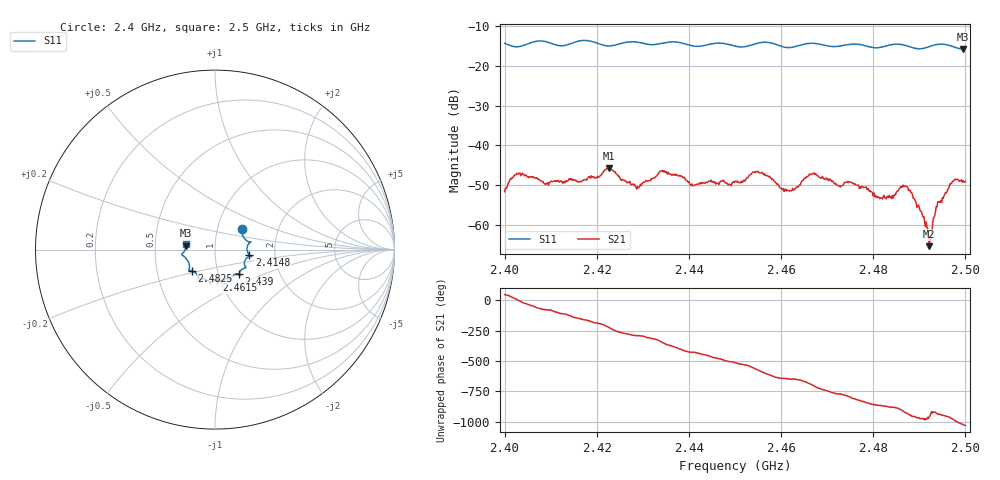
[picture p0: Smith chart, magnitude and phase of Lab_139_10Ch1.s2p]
# Hz S RI R 50
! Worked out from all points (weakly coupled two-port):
!   601 points, 2.4 GHz to 2.5 GHz, reference 50 ohm
!   highest |S21| = -45.72 dB at 2.4227 GHz (marker M1); lowest = -65.3 dB at 2.4922 GHz (marker M2)
!   lowest |S11| = -15.7 dB at 2.4995 GHz (marker M3), VSWR 1.39, Z = 36 + j1.58 ohm
!   |S11| at or under -10 dB: start of sweep to end of sweep
!   S12 and S22 are empty: the file has one direction only
!   S11 on the Smith chart (normalised r, x): 2.4 GHz: 1.31, +0.32; 2.4148 GHz: 1.47, -0.10; 2.439 GHz: 1.25, -0.35; 2.4615 GHz: 0.97, -0.34; 2.4825 GHz: 0.75, -0.18; 2.5 GHz: 0.72, +0.05
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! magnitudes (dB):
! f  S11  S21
! 2.4 GHz  -14.3  -51.6
! 2.4028 GHz  -15.2  -47.1
! 2.409 GHz  -13.9  -49.6
! 2.4148 GHz  -14.2  -48.7
! 2.4167 GHz  -13.7  -49.1
! 2.4227 GHz  -15.0  -45.7
! 2.4288 GHz  -14.0  -50.4
! 2.4333 GHz  -14.5  -47.2
! 2.439 GHz  -14.5  -48.0
! 2.4408 GHz  -15.0  -50.0
! 2.45 GHz  -15.0  -49.0
! 2.455 GHz  -14.3  -46.5
! 2.4615 GHz  -15.4  -51.3
! 2.4667 GHz  -14.3  -47.2
! 2.4825 GHz  -15.1  -53.1
! 2.4833 GHz  -14.8  -53.1
! 2.4875 GHz  -15.0  -50.5
! 2.4922 GHz  -15.2  -65.3
! 2.4942 GHz  -14.6  -54.1
! 2.4972 GHz  -15.1  -49.1
! 2.4995 GHz  -15.7  -48.9
! 2.5 GHz  -15.7  -49.0
